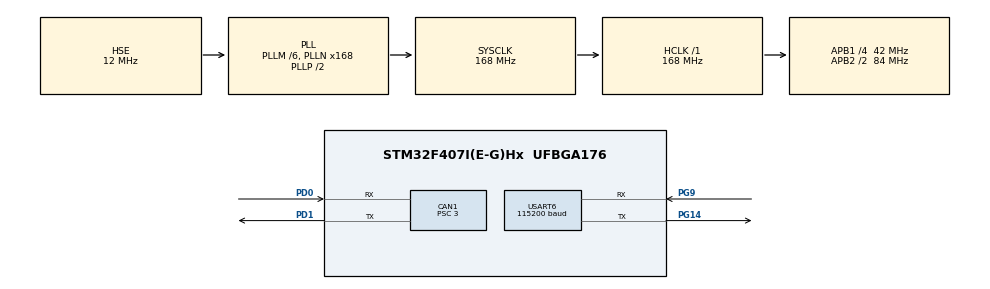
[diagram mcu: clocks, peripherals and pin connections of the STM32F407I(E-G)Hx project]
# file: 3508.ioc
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CAN1.ABOM=ENABLE
CAN1.BS1=CAN_BS1_9TQ
CAN1.BS2=CAN_BS2_4TQ
CAN1.CalculateBaudRate=1000000
CAN1.CalculateTimeBit=1000
CAN1.CalculateTimeQuantum=71.42857142857143
CAN1.Mode=CAN_MODE_NORMAL
CAN1.NART=ENABLE
CAN1.Prescaler=3
Mcu.Family=STM32F4
Mcu.Name=STM32F407I(E-G)Hx
Mcu.Package=UFBGA176
NVIC.CAN1_RX0_IRQn=true\:1\:0\:true\:false\:true\:true\:true\:true
NVIC.PriorityGroup=NVIC_PRIORITYGROUP_4
NVIC.USART6_IRQn=true\:3\:0\:true\:false\:true\:true\:true\:true
PA13.Mode=Serial_Wire
PA13.Signal=SYS_JTMS-SWDIO
PA14.Mode=Serial_Wire
PA14.Signal=SYS_JTCK-SWCLK
PD0.Mode=CAN_Activate
PD0.Signal=CAN1_RX
PD1.Mode=CAN_Activate
PD1.Signal=CAN1_TX
PH0-OSC_IN.Mode=HSE-External-Oscillator
PH0-OSC_IN.Signal=RCC_OSC_IN
PH1-OSC_OUT.Mode=HSE-External-Oscillator
PH1-OSC_OUT.Signal=RCC_OSC_OUT
PG14.Mode=Asynchronous
PG14.Signal=USART6_TX
PG9.Mode=Asynchronous
PG9.Signal=USART6_RX
ProjectManager.HeapSize=0x200
ProjectManager.StackSize=0x400
ProjectManager.TargetToolchain=CMake
RCC.48MHZClocksFreq_Value=48000000
RCC.AHBFreq_Value=168000000
RCC.APB1CLKDivider=RCC_HCLK_DIV4
RCC.APB1Freq_Value=42000000
RCC.APB1TimFreq_Value=84000000
RCC.APB2CLKDivider=RCC_HCLK_DIV2
RCC.APB2Freq_Value=84000000
RCC.APB2TimFreq_Value=168000000
RCC.CortexFreq_Value=168000000
RCC.HCLKFreq_Value=168000000
RCC.HSE_VALUE=12000000
RCC.HSI_VALUE=16000000
RCC.LSE_VALUE=32768
RCC.PLLM=6
RCC.PLLN=168
RCC.PLLQ=7
RCC.PLLSourceVirtual=RCC_PLLSOURCE_HSE
RCC.SYSCLKFreq_VALUE=168000000
RCC.SYSCLKSource=RCC_SYSCLKSOURCE_PLLCLK
RCC.VCOOutputFreq_Value=336000000
USART6.BaudRate=115200
USART6.VirtualMode=VM_ASYNC
board=custom

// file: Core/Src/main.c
/* USER CODE BEGIN Header */
/**
  ******************************************************************************
  * @file           : main.c
  * @brief          : Main program body
  ******************************************************************************
  * @attention
  *
  * Copyright (c) 2026 STMicroelectronics.
  * All rights reserved.
  *
  * This software is licensed under terms that can be found in the LICENSE file
  * in the root directory of this software component.
  * If no LICENSE file comes with this software, it is provided AS-IS.
  *
  ******************************************************************************
  */
/* USER CODE END Header */
#include "main.h"

/* USER CODE BEGIN Includes */
#include "M3508.h"
#include "Axis.h"
/* USER CODE END Includes */

/* USER CODE BEGIN PD */
/* 主循环每1ms更新一次轴控制并发送CAN电流。 */
#define AXIS_CONTROL_PERIOD_MS 1U
/* USER CODE END PD */

CAN_HandleTypeDef hcan1;
UART_HandleTypeDef huart6;

/* USER CODE BEGIN PV */
/* CAN1总线上的M3508管理器。 */
static M3508_ManagerTypeDef m3508_manager;

/* 8个实际电机对象，数组下标0~7对应电机编号1~8。 */
static M3508_MotorTypeDef motors[M3508_MOTOR_COUNT];

/* 8台电机各自对应一个位置轴，下标与motors数组一致。 */
static Axis_TypeDef axes[M3508_MOTOR_COUNT];
static volatile HAL_StatusTypeDef motor_tx_status = HAL_OK;

static uint32_t last_axis_control_tick = 0U;

/* USER CODE END PV */

void SystemClock_Config(void);
static void MX_GPIO_Init(void);
static void MX_CAN1_Init(void);
static void MX_USART6_UART_Init(void);

int main(void)
{

  /* MCU Configuration--------------------------------------------------------*/

  /* Reset of all peripherals, Initializes the Flash interface and the Systick. */
  HAL_Init();

  /* Configure the system clock */
  SystemClock_Config();

  /* Initialize all configured peripherals */
  MX_GPIO_Init();
  MX_CAN1_Init();
  MX_USART6_UART_Init();
  /* USER CODE BEGIN 2 */

  /* 第一步：创建管理器，并让它使用C板的CAN1。 */
  if (M3508_Manager_Init(&m3508_manager, &hcan1) != HAL_OK)
  {
    Error_Handler();
  }

  /* 第二步：注册1~8号电机，并为每台电机初始化一个位置轴。 */
  for (uint8_t motor_id = 1U; motor_id <= M3508_MOTOR_COUNT; ++motor_id)
  {
    const uint8_t index = motor_id - 1U;

    if (M3508_Manager_RegisterMotor(&m3508_manager,
                                    &motors[index],
                                    motor_id) != HAL_OK)
    {
      Error_Handler();
    }

    if (Axis_Init(&axes[index], &motors[index]) != HAL_OK)
    {
      Error_Handler();
    }
  }

  /* 第三步：配置0x201~0x208过滤器，启动CAN接收中断。 */
  if (M3508_Manager_Start(&m3508_manager) != HAL_OK)
  {
    Error_Handler();
  }
  /* USER CODE END 2 */

  /* Infinite loop */
  /* USER CODE BEGIN WHILE */
  while (1)
  {
    const uint32_t now_tick = HAL_GetTick();

    if ((now_tick - last_axis_control_tick) >= AXIS_CONTROL_PERIOD_MS)
    {
      last_axis_control_tick = now_tick;

      for (uint8_t index = 0U; index < M3508_MOTOR_COUNT; ++index)
      {
        Axis_Update(&axes[index], now_tick);
      }

      motor_tx_status = M3508_Manager_SendCurrents(&m3508_manager);
    }
    /* USER CODE END WHILE */

  }
}

void SystemClock_Config(void)
{
  RCC_OscInitTypeDef RCC_OscInitStruct = {0};
  RCC_ClkInitTypeDef RCC_ClkInitStruct = {0};

  /** Configure the main internal regulator output voltage
  */
  __HAL_RCC_PWR_CLK_ENABLE();
  __HAL_PWR_VOLTAGESCALING_CONFIG(PWR_REGULATOR_VOLTAGE_SCALE1);

  /** Initializes the RCC Oscillators according to the specified parameters
  * in the RCC_OscInitTypeDef structure.
  */
  RCC_OscInitStruct.OscillatorType = RCC_OSCILLATORTYPE_HSE;
  RCC_OscInitStruct.HSEState = RCC_HSE_ON;
  RCC_OscInitStruct.PLL.PLLState = RCC_PLL_ON;
  RCC_OscInitStruct.PLL.PLLSource = RCC_PLLSOURCE_HSE;
  RCC_OscInitStruct.PLL.PLLM = 6;
  RCC_OscInitStruct.PLL.PLLN = 168;
  RCC_OscInitStruct.PLL.PLLP = RCC_PLLP_DIV2;
  RCC_OscInitStruct.PLL.PLLQ = 7;
  if (HAL_RCC_OscConfig(&RCC_OscInitStruct) != HAL_OK)
  {
    Error_Handler();
  }

  /** Initializes the CPU, AHB and APB buses clocks
  */
  RCC_ClkInitStruct.ClockType = RCC_CLOCKTYPE_HCLK|RCC_CLOCKTYPE_SYSCLK
                              |RCC_CLOCKTYPE_PCLK1|RCC_CLOCKTYPE_PCLK2;
  RCC_ClkInitStruct.SYSCLKSource = RCC_SYSCLKSOURCE_PLLCLK;
  RCC_ClkInitStruct.AHBCLKDivider = RCC_SYSCLK_DIV1;
  RCC_ClkInitStruct.APB1CLKDivider = RCC_HCLK_DIV4;
  RCC_ClkInitStruct.APB2CLKDivider = RCC_HCLK_DIV2;

  if (HAL_RCC_ClockConfig(&RCC_ClkInitStruct, FLASH_LATENCY_5) != HAL_OK)
  {
    Error_Handler();
  }
}

static void MX_CAN1_Init(void)
{
  hcan1.Instance = CAN1;
  hcan1.Init.Prescaler = 3;
  hcan1.Init.Mode = CAN_MODE_NORMAL;
  hcan1.Init.SyncJumpWidth = CAN_SJW_1TQ;
  hcan1.Init.TimeSeg1 = CAN_BS1_9TQ;
  hcan1.Init.TimeSeg2 = CAN_BS2_4TQ;
  hcan1.Init.TimeTriggeredMode = DISABLE;
  hcan1.Init.AutoBusOff = ENABLE;
  hcan1.Init.AutoWakeUp = DISABLE;
  hcan1.Init.AutoRetransmission = ENABLE;
  hcan1.Init.ReceiveFifoLocked = DISABLE;
  hcan1.Init.TransmitFifoPriority = DISABLE;
  if (HAL_CAN_Init(&hcan1) != HAL_OK)
  {
    Error_Handler();
  }
}

static void MX_GPIO_Init(void)
{

  /* GPIO Ports Clock Enable */
  __HAL_RCC_GPIOA_CLK_ENABLE();

}

/* USER CODE BEGIN 4 */
/* HAL收到FIFO0消息后，把处理工作转交给M3508管理器。 */
void HAL_CAN_RxFifo0MsgPendingCallback(CAN_HandleTypeDef *hcan)
{
  M3508_Manager_RxFifo0Callback(&m3508_manager, hcan);
}

/**
  * @brief USART6 Initialization Function
  * @param None
  * @retval None
  */
static void MX_USART6_UART_Init(void)
{
  huart6.Instance = USART6;
  huart6.Init.BaudRate = 115200;
  huart6.Init.WordLength = UART_WORDLENGTH_8B;
  huart6.Init.StopBits = UART_STOPBITS_1;
  huart6.Init.Parity = UART_PARITY_NONE;
  huart6.Init.Mode = UART_MODE_TX_RX;
  huart6.Init.HwFlowCtl = UART_HWCONTROL_NONE;
  huart6.Init.OverSampling = UART_OVERSAMPLING_16;
  if (HAL_UART_Init(&huart6) != HAL_OK)
  {
    Error_Handler();
  }
}
/* USER CODE END 4 */

void Error_Handler(void)
{
  __disable_irq();
  while (1)
  {
  }
}
